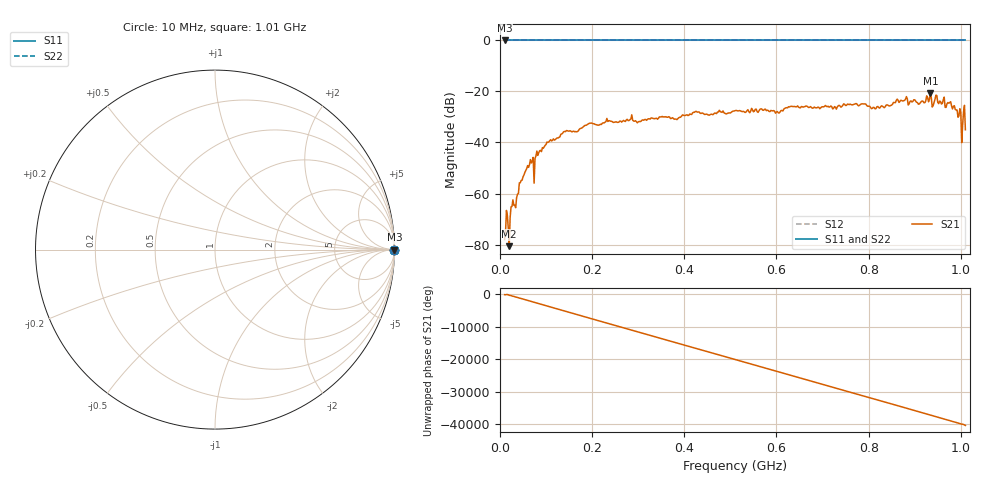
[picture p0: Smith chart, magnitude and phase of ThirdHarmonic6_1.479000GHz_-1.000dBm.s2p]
! 8/16/2025 5:16:55 PM
! C:\ANRITSUVNA\TEMP\TEMP.S2P
! CHANNEL.1
! TR.MEASUREMENT
! RAW.DATA
! RF.CORRECTION.OFF
! AVERAGING.OFF
! IF.BANDWIDTH: 5KHZ
! SWEEPTYPE:  FREQ.SWEEP(Linear)
! Reference Plane Port Info
! PORT:  PORT1  PORT2
! DISTANCE:  0  m  0  m
! TIME:  0  s  0  s
! PHASE.OFFSET:  0  deg.  0  deg.
! LOSS:  0  dB  0  dB
! REF.LOSS:  0  dB  0  dB
! REF.FREQ:  0  Hz  0  Hz
! Power Info
! POWER:  -20  dBm  -20  dBm
! EFF.POWER:  -20  dBm  -20  dBm
! SOURCE.ATTEN:  0  dB  0  dB
! TEST.ATTEN:  0  dB  0  dB
# GHZ S RI R 50.0
! FREQ.GHZ  S11RE  S11IM  S21RE  S21IM  S12RE  S12IM  S22RE  S22IM
!; PortSelection: Port_12
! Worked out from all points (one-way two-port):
!   501 points, 10 MHz to 1.01 GHz, reference 50 ohm
!   highest |S21| = -20.63 dB at 934 MHz (marker M1); lowest = -80.6 dB at 20 MHz (marker M2)
!   lowest |S11| = 0.0 dB at 10 MHz (marker M3)
!   |S11| at or under -10 dB: nowhere
!   |S22| runs from 0.0 to 0.0 dB; largest |S21 - S12| = 1.1
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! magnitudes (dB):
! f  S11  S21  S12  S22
! 10 MHz  0.0  -78.1  0.0  0.0
! 20 MHz  0.0  -80.6  0.0  0.0
! 26 MHz  0.0  -65.1  0.0  0.0
! 36 MHz  0.0  -61.7  0.0  0.0
! 46 MHz  0.0  -54.9  0.0  0.0
! 68 MHz  0.0  -48.0  0.0  0.0
! 72 MHz  0.0  -45.8  0.0  0.0
! 82 MHz  0.0  -45.1  0.0  0.0
! 106 MHz  0.0  -39.7  0.0  0.0
! 178 MHz  0.0  -34.3  0.0  0.0
! 234 MHz  0.0  -31.7  0.0  0.0
! 344 MHz  0.0  -30.5  0.0  0.0
! 510 MHz  0.0  -27.5  0.0  0.0
! 678 MHz  0.0  -26.6  0.0  0.0
! 844 MHz  0.0  -25.6  0.0  0.0
! 880 MHz  0.0  -23.0  0.0  0.0
! 908 MHz  0.0  -25.0  0.0  0.0
! 934 MHz  0.0  -20.6  0.0  0.0
! 976 MHz  0.0  -24.3  0.0  0.0
! 996 MHz  0.0  -29.5  0.0  0.0
! 1 GHz  0.0  -28.4  0.0  0.0
! 1.01 GHz  0.0  -35.0  0.0  0.0
